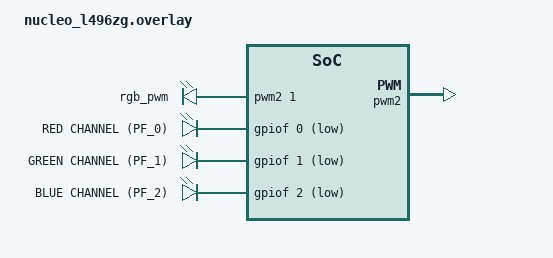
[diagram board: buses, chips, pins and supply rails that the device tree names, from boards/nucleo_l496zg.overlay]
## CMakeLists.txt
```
# SPDX-License-Identifier: Apache-2.0

cmake_minimum_required(VERSION 3.20.0)
find_package(Zephyr REQUIRED HINTS $ENV{ZEPHYR_BASE})
project(prac1-dtask2)

target_sources(app PRIVATE src/main.c)
```

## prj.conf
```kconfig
CONFIG_GPIO=y
CONFIG_PWM=y
```

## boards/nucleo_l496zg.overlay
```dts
// Adapted from build/zephyr/zephyr.dts

// Defines aliases for accessing devices with DT_ALIAS.
/ {
    aliases {
        r-channel = &r_channel;
        g-channel = &g_channel;
        b-channel = &b_channel;
        rgb-pwm = &rgb_pwm;
    };
};

// Sets pins PF_0, PF_1, and PF_2 as led's to be used as GPIO's.
&leds {
    compatible = "gpio-leds";
    r_channel: r_channel {
        gpios = < &gpiof 0 GPIO_ACTIVE_LOW >;
        label = "RED CHANNEL (PF_0)";
    };
    g_channel: g_channel {
        gpios = < &gpiof 1 GPIO_ACTIVE_LOW >;
        label = "GREEN CHANNEL (PF_1)";
    };
    b_channel: b_channel {
        gpios = < &gpiof 2 GPIO_ACTIVE_LOW >;
        label = "BLUE CHANNEL (PF_2)";
    };
};


// Adapted from zephyr/samples/basic/blinky_pwm/builds/nucleo_l476rg.overlay

// Sets the status of PWM2 from "disabled" to "okay"
&pwm2 {
	status = "okay";
};

// Creates a new pwmleds node and configures PWM2/1 (PA_0).
/ {
	pwmleds: pwmleds {
		compatible = "pwm-leds";
		status = "okay";

		rgb_pwm: rgb_pwm {
			pwms = <&pwm2 1 PWM_MSEC(20) PWM_POLARITY_NORMAL>;
		};
	};
};
```

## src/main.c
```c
#include "zephyr/sys/printk.h"
#include <stdbool.h>
#include <zephyr/kernel.h>
#include <zephyr/device.h>
#include <zephyr/devicetree.h>
#include <zephyr/drivers/gpio.h>
#include <zephyr/drivers/pwm.h>

#include "headers.h"

// Create containers of node information from the node identifiers,
// specified by the device tree:

// - GPIO device
// - Pin number
// - Configuration flags
static const struct gpio_dt_spec rc = GPIO_DT_SPEC_GET_BY_IDX(RC, gpios, 0);
static const struct gpio_dt_spec gc = GPIO_DT_SPEC_GET_BY_IDX(GC, gpios, 0);
static const struct gpio_dt_spec bc = GPIO_DT_SPEC_GET_BY_IDX(BC, gpios, 0);

// - PWM device.
// - Channel number (PWM2 channel 4).
// - Period (nanoseconds).
// - Configuration flags.
static const struct pwm_dt_spec rgb_pwm = PWM_DT_SPEC_GET_BY_IDX(PWM, 0);

// Configure the pins as outputs and set them as active so they can be used.
void configure_pins(void) 
{
    gpio_pin_configure_dt(&rc, GPIO_OUTPUT_ACTIVE);
    gpio_pin_configure_dt(&gc, GPIO_OUTPUT_ACTIVE);
    gpio_pin_configure_dt(&bc, GPIO_OUTPUT_ACTIVE);
}

// Checks and sets the pwm pin to the specified period and pulse.
void set_pwm_pin(void)
{	
     // Adapted from zephyr/samples/basic/blinky_pwm/src/main.c
    if (!pwm_is_ready_dt(&rgb_pwm)) {
    printk("Error: PWM DEVICE %s FAILED\n", rgb_pwm.dev->name);
    } else {
        pwm_set_dt(&rgb_pwm, 1000 , 990);
    }
}

// Sets the RGB channel states based on the desired colour.
void set_colour_to(rgb_colour colour) {
    rgb_state combo = {ON, ON, ON};
    switch (colour) {
        case BLACK:     combo = (rgb_state){ OFF, OFF, OFF }; break;
        case BLUE:      combo = (rgb_state){ OFF, OFF, ON  }; break;
        case GREEN:     combo = (rgb_state){ OFF, ON,  OFF }; break;
        case CYAN:      combo = (rgb_state){ OFF, ON,  ON  }; break;
        case RED:       combo = (rgb_state){ ON,  OFF, OFF }; break;
        case MAGENTA:   combo = (rgb_state){ ON,  OFF, ON  }; break;
        case YELLOW:    combo = (rgb_state){ ON,  ON,  OFF }; break;
        case WHITE:     combo = (rgb_state){ ON,  ON,  ON  }; break;
        default: printk("colour not recognised"); break;
    }
    gpio_pin_set_dt(&rc, combo.red);
    gpio_pin_set_dt(&gc, combo.green);
    gpio_pin_set_dt(&bc, combo.blue);
}

// Allows communication of an integer between threads that can be translated into a colour.
K_MSGQ_DEFINE(          
    rgb_msgq,           // Name.
    sizeof(int),        // Message size.
    1,                  // Maximum messages.
    1                   // Memory alignment.                   
);                      

// Create the static RGB LED thread at compile time.
K_THREAD_DEFINE(            // Static thread declaration.
    rgb_led_tid,            // Thread ID.
    1024,                   // Memory (1KB).
    rgb_led_tfun,           // Entry point.
    NULL, NULL, NULL,       // No parameters.
    1,                      // HIGHER priority.
    0,                      // No special options.
    2000                    // Start after 2 seconds.
);    

// Create the static control thread at compile time.
K_THREAD_DEFINE(            // Static thread declaration.
    control_tid,            // Thread ID.
    1024,                   // Memory (1KB).
    control_tfun,           // Entry point.
    NULL, NULL, NULL,       // No parameters.
    1,                      // LOWER priority.
    0,                      // No special options.
    2000                    // Start after 2 seconds.
);    

// Decides on the colour by looping through the rgb_colour values and putting them
// into the message queue.
void rgb_led_tfun(void) 
{
    rgb_colour colour = BLACK;

    while (true)
    {
        int result = k_msgq_put 
        (
            &rgb_msgq,
            &colour,
            K_MSEC(100)
        );

        if (result != 0) {
            printk("RGB LED THREAD FAILED");
        }

        colour += 1;            // Incriment through the colours.
        colour %= NUM_COLOURS;  // Loop back to the start of the sequence.

        k_sleep(K_MSEC(2000));
    }
}

// Sets the desired colour by getting from the message queue.
void control_tfun(void)
{
    while (true)
    {
        rgb_colour colour;

        int result = k_msgq_get 
        (
            &rgb_msgq,     
            &colour, 
            K_MSEC(100) 
        );

        if (result != 0) {
            printk("CONTROL THREAD FAILED");
        } 
        else {
            set_colour_to(colour); 
        }

        k_sleep(K_MSEC(2000));
    }
}

// Entry point of program, 
// Calls for pin configuration, sets the PWM pin, and labels static threads before returning.
int main(void) {

    configure_pins();
    set_pwm_pin();

    k_thread_name_set(rgb_led_tid, "RGB-LED-Thread");
    k_thread_name_set(control_tid, "Control-Thread");

    printk("\n\nITS RAINBOWING TIME !!!\n\n");

    return 0;
}
```

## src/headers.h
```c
#include <stdbool.h>

// Fetch the node identifiers from /aliases.
#define RC DT_ALIAS(r_channel)
#define GC DT_ALIAS(g_channel)
#define BC DT_ALIAS(b_channel)
#define PWM DT_ALIAS(rgb_pwm)

// For code readability.
#define ON  true
#define OFF false

// Allows for simplified and more readable code in the set_colour_to function.
typedef struct {
    bool red;
    bool green;
    bool blue;
} rgb_state;

// Provides an interface for readable message interpretation between threads.
// Also defines the desired order of colours.
typedef enum { // Assigns integer values to symbolic names.
    BLACK, BLUE, GREEN, CYAN, RED, MAGENTA, YELLOW, WHITE, NUM_COLOURS
    //0    //1   //2    //3   //4  //5      //6     //7    //8
} rgb_colour;

// Functions.
void configure_pins(void);
void set_pwm_pin(void);
void set_colour_to(rgb_colour);
void rgb_led_tfun(void);
void control_tfun(void);
```
